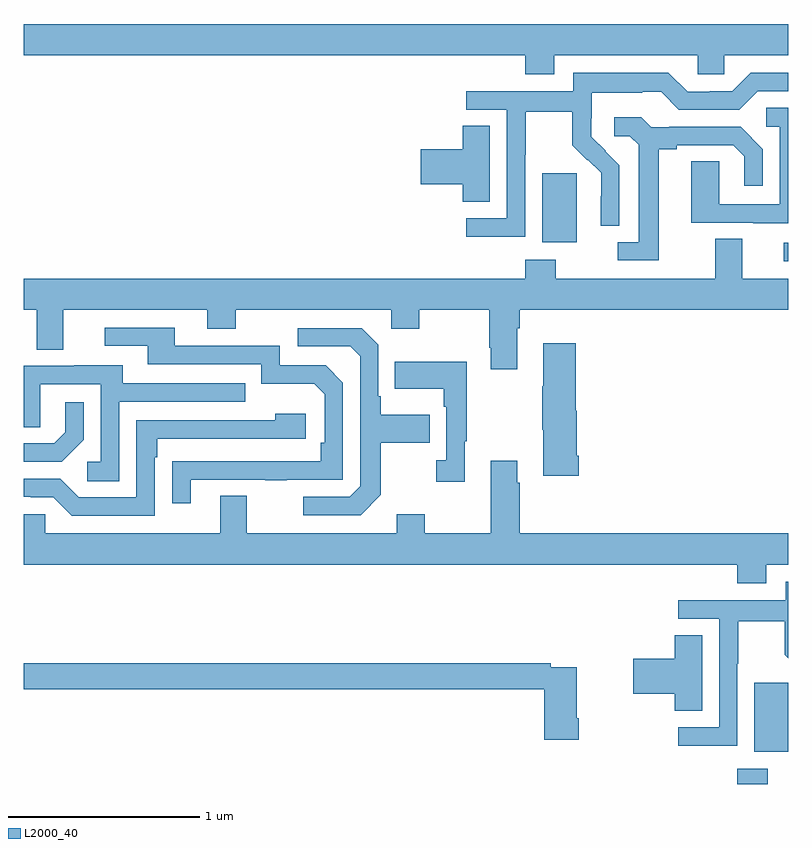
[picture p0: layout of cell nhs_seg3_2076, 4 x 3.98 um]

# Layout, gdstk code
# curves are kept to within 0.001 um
import gdstk
lib = gdstk.Library(unit=1e-6, precision=1e-09)
def R(c, l, rs):  # rectangles x0, y0, x1, y1
    for r in rs: c.add(gdstk.rectangle(r[:2], r[2:], *l))
def P(c, l, *ps):  # polygons
    for p in ps: c.add(gdstk.Polygon(p, *l))
L2000_40 = (2000, 40)

nhs_seg3_2076 = lib.new_cell('nhs_seg3_2076')
R(nhs_seg3_2076, L2000_40, [(220.733,734.4,220.893,734.479), (220.823,734.57,221,734.931), (220.977,737.136,221,737.232), (219.713,737.234,219.892,737.595)])
P(nhs_seg3_2076, L2000_40, [(219.775,738.212),(220.527,738.212),(220.527,738.114),(220.665,738.114),(220.665,738.212),(221,738.212),(221,738.376),(217,738.376),(217,738.212),(219.623,738.212),(219.623,738.113),(219.775,738.113)],
  [(219.624,737.692),(219.627,737.692),(219.627,737.916),(219.871,737.916),(219.871,737.741),(219.948,737.664),(219.951,737.667),(220.022,737.597),(220.022,737.474),(220.02,737.474),(220.02,737.32),(220.116,737.32),(220.116,737.638),(219.97,737.786),(219.97,737.883),(219.972,737.883),(219.972,738.017),(220.235,738.017),(220.235,738.021),(220.335,738.021),(220.428,737.928),(220.743,737.928),(220.839,738.024),(221,738.024),(221,738.12),(220.803,738.12),(220.707,738.024),(220.589,738.024),(220.589,738.021),(220.473,738.021),(220.373,738.121),(219.876,738.121),(219.876,738.024),(219.315,738.024),(219.315,737.928),(219.528,737.928),(219.528,737.361),(219.315,737.361),(219.315,737.263),(219.624,737.263)],
  [(221,737.939),(220.884,737.939),(220.884,737.838),(220.956,737.838),(220.956,737.433),(220.638,737.433),(220.638,737.657),(220.493,737.657),(220.493,737.337),(220.817,737.337),(220.817,737.333),(221,737.333)],
  [(220.321,737.72),(220.417,737.72),(220.417,737.742),(220.712,737.742),(220.769,737.685),(220.769,737.529),(220.866,737.529),(220.866,737.722),(220.75,737.838),(220.378,737.838),(220.378,737.835),(220.284,737.835),(220.232,737.887),(220.089,737.887),(220.089,737.79),(220.17,737.79),(220.217,737.743),(220.217,737.235),(220.107,737.235),(220.107,737.139),(220.321,737.139)],
  [(219.439,737.843),(219.296,737.843),(219.296,737.72),(219.078,737.72),(219.078,737.537),(219.296,737.537),(219.296,737.446),(219.439,737.446)],
  [(219.583,736.784),(219.596,736.784),(219.596,736.88),(221,736.88),(221,737.044),(220.759,737.044),(220.759,737.252),(220.619,737.252),(220.619,737.044),(219.783,737.044),(219.783,737.143),(219.623,737.143),(219.623,737.044),(217,737.044),(217,736.88),(217.067,736.88),(217.067,736.672),(217.207,736.672),(217.207,736.88),(217.961,736.88),(217.961,736.781),(218.109,736.781),(218.109,736.88),(218.922,736.88),(218.922,736.781),(219.069,736.781),(219.069,736.88),(219.436,736.88),(219.436,736.681),(219.443,736.681),(219.443,736.569),(219.583,736.569)],
  [(217.873,735.993),(218.263,735.993),(218.263,735.988),(218.375,735.988),(218.375,735.993),(218.67,735.993),(218.67,736.5),(218.58,736.59),(218.34,736.59),(218.34,736.692),(217.789,736.692),(217.789,736.788),(217.425,736.788),(217.425,736.692),(217.649,736.692),(217.649,736.596),(218.244,736.596),(218.244,736.493),(218.521,736.493),(218.574,736.44),(218.574,736.186),(218.554,736.186),(218.554,736.089),(217.777,736.088),(217.777,735.87),(217.873,735.87)],
  [(218.869,735.913),(218.869,736.186),(219.125,736.186),(219.125,736.333),(218.869,736.333),(218.869,736.429),(218.856,736.429),(218.856,736.698),(218.769,736.785),(218.433,736.785),(218.433,736.689),(218.709,736.689),(218.76,736.638),(218.76,735.957),(218.706,735.903),(218.463,735.903),(218.463,735.807),(218.763,735.807)],
  [(219.905,736.117),(219.892,736.117),(219.892,736.353),(219.887,736.353),(219.887,736.705),(219.719,736.705),(219.719,736.481),(219.712,736.481),(219.712,736.253),(219.719,736.253),(219.719,736.013),(219.905,736.013)],
  [(219.307,736.193),(219.319,736.193),(219.319,736.609),(218.941,736.609),(218.941,736.469),(219.198,736.469),(219.198,736.373),(219.21,736.373),(219.21,736.094),(219.159,736.094),(219.159,735.981),(219.307,735.981)],
  [(217.5,736.401),(218.159,736.401),(218.159,736.497),(217.519,736.497),(217.519,736.591),(217.265,736.591),(217.265,736.587),(217,736.587),(217,736.267),(217.086,736.267),(217.086,736.491),(217.404,736.491),(217.404,736.086),(217.332,736.086),(217.332,735.985),(217.5,735.985)],
  [(217.314,736.202),(217.314,736.396),(217.217,736.396),(217.217,736.239),(217.16,736.182),(217,736.182),(217,736.086),(217.198,736.086)],
  [(217.686,736.109),(217.699,736.109),(217.699,736.206),(218.476,736.206),(218.476,736.336),(218.315,736.336),(218.315,736.302),(217.59,736.302),(217.59,735.9),(217.287,735.9),(217.191,735.996),(217,735.996),(217,735.903),(217.037,735.903),(217.037,735.9),(217.155,735.9),(217.251,735.804),(217.686,735.804)],
  [(220.885,735.548),(221,735.548),(221,735.712),(219.596,735.712),(219.596,735.977),(219.583,735.977),(219.583,736.09),(219.443,736.09),(219.443,735.712),(219.099,735.712),(219.099,735.811),(218.951,735.811),(218.951,735.712),(218.167,735.712),(218.167,735.907),(218.027,735.907),(218.027,735.712),(217.113,735.712),(217.113,735.81),(217,735.81),(217,735.548),(220.733,735.548),(220.733,735.449),(220.885,735.449)],
  [(220.734,735.028),(220.737,735.028),(220.737,735.252),(220.981,735.252),(220.981,735.077),(221,735.058),(221,735.457),(220.986,735.457),(220.986,735.36),(220.425,735.36),(220.425,735.264),(220.638,735.264),(220.638,734.697),(220.425,734.697),(220.425,734.599),(220.734,734.599)],
  [(220.549,735.179),(220.406,735.179),(220.406,735.056),(220.188,735.056),(220.188,734.873),(220.406,734.873),(220.406,734.782),(220.549,734.782)],
  [(219.905,734.743),(219.892,734.743),(219.892,735.012),(219.758,735.012),(219.758,735.032),(217,735.032),(217,734.896),(219.722,734.896),(219.722,734.631),(219.905,734.631)])

lib.write_gds('nhs_seg3_2076.gds')
